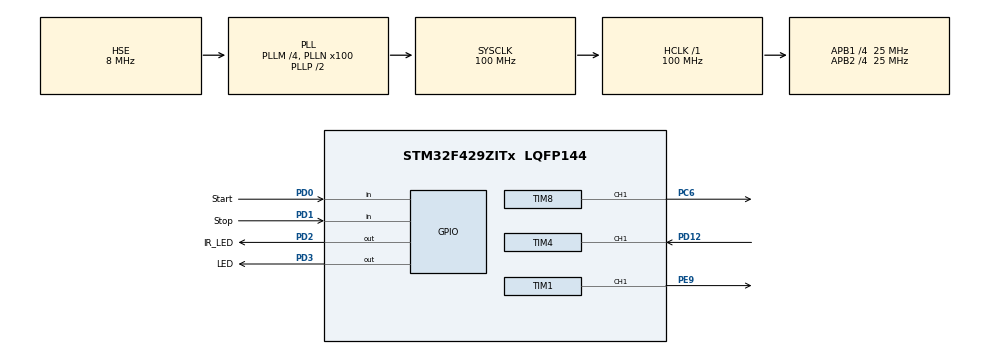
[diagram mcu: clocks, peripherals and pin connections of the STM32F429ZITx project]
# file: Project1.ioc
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Mcu.Family=STM32F4
Mcu.Name=STM32F429ZITx
Mcu.Package=LQFP144
NVIC.PriorityGroup=NVIC_PRIORITYGROUP_4
NVIC.TIM1_CC_IRQn=true\:0\:0\:false\:false\:true\:true\:true\:true
NVIC.TIM2_IRQn=true\:0\:0\:false\:false\:true\:true\:true\:true
NVIC.TIM4_IRQn=true\:0\:0\:false\:false\:true\:true\:true\:true
PC6.Signal=S_TIM8_CH1
PD0.GPIO_Label=Start
PD0.Signal=GPIO_Input
PD1.GPIO_Label=Stop
PD1.Signal=GPIO_Input
PD12.Signal=S_TIM4_CH1
PD2.GPIO_Label=IR_LED
PD2.Signal=GPIO_Output
PD3.GPIO_Label=LED
PD3.Signal=GPIO_Output
PE9.Signal=S_TIM1_CH1
PH0/OSC_IN.Mode=HSE-External-Oscillator
PH0/OSC_IN.Signal=RCC_OSC_IN
PH1/OSC_OUT.Mode=HSE-External-Oscillator
PH1/OSC_OUT.Signal=RCC_OSC_OUT
ProjectManager.HeapSize=0x200
ProjectManager.StackSize=0x400
ProjectManager.TargetToolchain=EWARM V8.50
RCC.48MHZClocksFreq_Value=50000000
RCC.AHBFreq_Value=100000000
RCC.APB1CLKDivider=RCC_HCLK_DIV4
RCC.APB1Freq_Value=25000000
RCC.APB1TimFreq_Value=50000000
RCC.APB2CLKDivider=RCC_HCLK_DIV4
RCC.APB2Freq_Value=25000000
RCC.APB2TimFreq_Value=50000000
RCC.CortexFreq_Value=100000000
RCC.HCLKFreq_Value=100000000
RCC.HSE_VALUE=8000000
RCC.HSI_VALUE=16000000
RCC.LSE_VALUE=32768
RCC.PLLM=4
RCC.PLLN=100
RCC.PLLSourceVirtual=RCC_PLLSOURCE_HSE
RCC.SYSCLKFreq_VALUE=100000000
RCC.SYSCLKSource=RCC_SYSCLKSOURCE_PLLCLK
RCC.VCOOutputFreq_Value=200000000
SH.S_TIM1_CH1.0=TIM1_CH1,PWM Generation1 CH1
SH.S_TIM4_CH1.0=TIM4_CH1,Input_Capture1_from_TI1
SH.S_TIM8_CH1.0=TIM8_CH1,PWM Generation1 CH1
TIM1.Channel-PWM\ Generation1\ CH1=TIM_CHANNEL_1
TIM1.Period=200
TIM1.Prescaler=50
TIM2.Channel-Output\ Compare1\ No\ Output=TIM_CHANNEL_1
TIM2.Period=500000
TIM2.Prescaler=50
TIM4.Channel-Input_Capture1_from_TI1=TIM_CHANNEL_1
TIM4.ICPolarity_CH1=TIM_INPUTCHANNELPOLARITY_BOTHEDGE
TIM8.Channel-PWM\ Generation1\ CH1=TIM_CHANNEL_1
VP_TIM2_VS_no_output1.Mode=Output Compare1 No Output
board=custom

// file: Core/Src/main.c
/* USER CODE BEGIN Header */
/**
  ******************************************************************************
  * @file           : main.c
  * @brief          : Main program body
  ******************************************************************************
  * @attention
  *
  * Copyright (c) 2023 STMicroelectronics.
  * All rights reserved.
  *
  * This software is licensed under terms that can be found in the LICENSE file
  * in the root directory of this software component.
  * If no LICENSE file comes with this software, it is provided AS-IS.
  *
  ******************************************************************************
  */
/* USER CODE END Header */
#include "main.h"

TIM_HandleTypeDef htim1;
TIM_HandleTypeDef htim2;
TIM_HandleTypeDef htim4;
TIM_HandleTypeDef htim8;

/* USER CODE BEGIN PV */
int state = 0;
uint8_t START = 1;
uint8_t STOP = 1;
int blinks = 0;
float freq = 0;
/* USER CODE END PV */

void SystemClock_Config(void);
static void MX_GPIO_Init(void);
static void MX_TIM4_Init(void);
static void MX_TIM1_Init(void);
static void MX_TIM2_Init(void);
static void MX_TIM8_Init(void);

int main(void)
{

  /* MCU Configuration--------------------------------------------------------*/

  /* Reset of all peripherals, Initializes the Flash interface and the Systick. */
  HAL_Init();

  /* Configure the system clock */
  SystemClock_Config();

  /* Initialize all configured peripherals */
  MX_GPIO_Init();
  MX_TIM4_Init();
  MX_TIM1_Init();
  MX_TIM2_Init();
  MX_TIM8_Init();
  /* USER CODE BEGIN 2 */
  //TIM1 -> PSC = 49 - 1; // set the prescalar for the PWM generation
  TIM1 -> ARR = 100; // 1MHz / 5kHz = 100 ticks/5kHz wave
  TIM1 -> CCR1 = 50; // 200/2 = 100 = 50% duty cycle
  HAL_TIM_PWM_Init(&htim1);

  TIM8 -> ARR = 1667; // 100MHz/30kHz = 1667 ticks/30kHz wave
  TIM8 -> CCR1 = 1667; // 1667 * .5 = 1667 for 50% duty cycle
  HAL_TIM_PWM_Init(&htim8);
  /* USER CODE END 2 */

  /* Infinite loop */
  /* USER CODE BEGIN WHILE */
  while (1)
  { START = HAL_GPIO_ReadPin(GPIOD, GPIO_PIN_0); // start = PD0
    STOP = HAL_GPIO_ReadPin(GPIOD, GPIO_PIN_1); // start = PD1
    HAL_TIM_PWM_Stop(&htim1, TIM_CHANNEL_1); // turn off the buzzer

    if (START == GPIO_PIN_SET && state == 0) {
      blinks = 0; // reset the blink count for reset
    }

    // the start sequence
    else if (((START == GPIO_PIN_RESET) && (state == 0)) && (blinks < 7)){
      TIM2 -> ARR = 500000; // the timer will trigger every half second
      TIM1 -> PSC = 50-1;
      TIM1 -> ARR = 100; // 1MHz / 5kHz = 100 ticks/5kHz wave
      TIM1 -> CCR1 = 50; // 100/2 = 50 = 50% duty cycle
      HAL_TIM_OC_Start_IT(&htim2, TIM_CHANNEL_1); // start the blinking
      HAL_TIM_PWM_Start(&htim1, TIM_CHANNEL_1); // start the buzzer
      if (blinks == 6){
        HAL_TIM_OC_Stop_IT(&htim2, TIM_CHANNEL_1); // stop the blink interrupt
        TIM8 -> ARR = 1667;
        TIM8 -> CCR1 = 834;
        HAL_TIM_PWM_Start(&htim8, TIM_CHANNEL_1); // turn on the output
        HAL_TIM_IC_Start_IT(&htim4, TIM_CHANNEL_1); // turn on the input compare
        state++; // goto next state after 6 blinks
      }
    }

    // the PWM generation
    else if (state == 1 && STOP == 1){
      blinks = 0; // reset the blink counter
      HAL_TIM_PWM_Stop(&htim1, TIM_CHANNEL_1); // turn off the buzzer
      HAL_GPIO_WritePin(GPIOD, GPIO_PIN_2, GPIO_PIN_SET); // turn on the IR LED
      if (freq > 6300){
          TIM8 -> CCR1 = 167; // 1667/10 = 167 for 10% duty cycle
      }
      else if (freq > 6100){
          TIM8 -> CCR1 = 334; // 1667/5 = 334 for 20% duty cycle
      }
      else if (freq > 5900){
          TIM8 -> CCR1 = 500; // 1667 * .3 = 500 for 30% duty cycle
      }
      else if (freq > 5700){
          TIM8 -> CCR1 = 667; // 1667 * .4 = 667 for 40% duty cycle
      }
      else if (freq > 5500){
          TIM8 -> CCR1 = 834; // 1667 * .5 = 834 for 50% duty cycle
      }
      else if (freq > 5300){
          TIM8 -> CCR1 = 1000; // 1667 * .6 = 1000 for 60% duty cycle
      }
      else if (freq > 5100){
          TIM8 -> CCR1 = 1167; // 1667 * .7 = 1167 for 70% duty cycle
      }
      else if (freq > 4900){
          TIM8 -> CCR1 = 1334; // 1667 * .8 = 1334 for 80% duty cycle
      }
      else if (freq > 4700){
          TIM8 -> CCR1 = 1500; // 1667 * .9 = 1500 for 90% duty cycle
      }
      else {
          TIM8 -> CCR1 = 834; // 1667 * .5 = 834 for 50% duty cycle
          // shouldn't get here, just in case
      }
    }

    // the stop sequence
    else if (STOP == 0 && state == 1) {
      HAL_TIM_OC_Stop_IT(&htim4, TIM_CHANNEL_1); // stop the input capture
      HAL_TIM_PWM_Stop(&htim8, TIM_CHANNEL_1); // stop the output
      HAL_GPIO_WritePin(GPIOD, GPIO_PIN_2, GPIO_PIN_RESET); // turn off the IR LED
      TIM1 -> ARR = 90;
      TIM1 -> CCR1 = 45;
      HAL_TIM_PWM_Start(&htim1, TIM_CHANNEL_1); // turn on the buzzer
      TIM2 -> ARR = 250000; // the timer will trigger every quarter second
      HAL_TIM_OC_Start_IT(&htim2, TIM_CHANNEL_1); // start blinking the light

      if (blinks == 10){
        HAL_TIM_OC_Stop_IT(&htim2, TIM_CHANNEL_1); // stop the blinking at 10 blinks
        state = 0; // restart the process
      }
    }

    /* USER CODE END WHILE */

  }
}

void SystemClock_Config(void)
{
  RCC_OscInitTypeDef RCC_OscInitStruct = {0};
  RCC_ClkInitTypeDef RCC_ClkInitStruct = {0};

  /** Configure the main internal regulator output voltage
  */
  __HAL_RCC_PWR_CLK_ENABLE();
  __HAL_PWR_VOLTAGESCALING_CONFIG(PWR_REGULATOR_VOLTAGE_SCALE3);

  /** Initializes the RCC Oscillators according to the specified parameters
  * in the RCC_OscInitTypeDef structure.
  */
  RCC_OscInitStruct.OscillatorType = RCC_OSCILLATORTYPE_HSE;
  RCC_OscInitStruct.HSEState = RCC_HSE_ON;
  RCC_OscInitStruct.PLL.PLLState = RCC_PLL_ON;
  RCC_OscInitStruct.PLL.PLLSource = RCC_PLLSOURCE_HSE;
  RCC_OscInitStruct.PLL.PLLM = 4;
  RCC_OscInitStruct.PLL.PLLN = 100;
  RCC_OscInitStruct.PLL.PLLP = RCC_PLLP_DIV2;
  RCC_OscInitStruct.PLL.PLLQ = 4;
  if (HAL_RCC_OscConfig(&RCC_OscInitStruct) != HAL_OK)
  {
    Error_Handler();
  }

  /** Initializes the CPU, AHB and APB buses clocks
  */
  RCC_ClkInitStruct.ClockType = RCC_CLOCKTYPE_HCLK|RCC_CLOCKTYPE_SYSCLK
                              |RCC_CLOCKTYPE_PCLK1|RCC_CLOCKTYPE_PCLK2;
  RCC_ClkInitStruct.SYSCLKSource = RCC_SYSCLKSOURCE_PLLCLK;
  RCC_ClkInitStruct.AHBCLKDivider = RCC_SYSCLK_DIV1;
  RCC_ClkInitStruct.APB1CLKDivider = RCC_HCLK_DIV4;
  RCC_ClkInitStruct.APB2CLKDivider = RCC_HCLK_DIV4;

  if (HAL_RCC_ClockConfig(&RCC_ClkInitStruct, FLASH_LATENCY_3) != HAL_OK)
  {
    Error_Handler();
  }
}

static void MX_TIM1_Init(void)
{

  TIM_MasterConfigTypeDef sMasterConfig = {0};
  TIM_OC_InitTypeDef sConfigOC = {0};
  TIM_BreakDeadTimeConfigTypeDef sBreakDeadTimeConfig = {0};

  htim1.Instance = TIM1;
  htim1.Init.Prescaler = 50;
  htim1.Init.CounterMode = TIM_COUNTERMODE_UP;
  htim1.Init.Period = 200;
  htim1.Init.ClockDivision = TIM_CLOCKDIVISION_DIV1;
  htim1.Init.RepetitionCounter = 0;
  htim1.Init.AutoReloadPreload = TIM_AUTORELOAD_PRELOAD_DISABLE;
  if (HAL_TIM_PWM_Init(&htim1) != HAL_OK)
  {
    Error_Handler();
  }
  sMasterConfig.MasterOutputTrigger = TIM_TRGO_RESET;
  sMasterConfig.MasterSlaveMode = TIM_MASTERSLAVEMODE_DISABLE;
  if (HAL_TIMEx_MasterConfigSynchronization(&htim1, &sMasterConfig) != HAL_OK)
  {
    Error_Handler();
  }
  sConfigOC.OCMode = TIM_OCMODE_PWM1;
  sConfigOC.Pulse = 0;
  sConfigOC.OCPolarity = TIM_OCPOLARITY_HIGH;
  sConfigOC.OCNPolarity = TIM_OCNPOLARITY_HIGH;
  sConfigOC.OCFastMode = TIM_OCFAST_DISABLE;
  sConfigOC.OCIdleState = TIM_OCIDLESTATE_RESET;
  sConfigOC.OCNIdleState = TIM_OCNIDLESTATE_RESET;
  if (HAL_TIM_PWM_ConfigChannel(&htim1, &sConfigOC, TIM_CHANNEL_1) != HAL_OK)
  {
    Error_Handler();
  }
  sBreakDeadTimeConfig.OffStateRunMode = TIM_OSSR_DISABLE;
  sBreakDeadTimeConfig.OffStateIDLEMode = TIM_OSSI_DISABLE;
  sBreakDeadTimeConfig.LockLevel = TIM_LOCKLEVEL_OFF;
  sBreakDeadTimeConfig.DeadTime = 0;
  sBreakDeadTimeConfig.BreakState = TIM_BREAK_DISABLE;
  sBreakDeadTimeConfig.BreakPolarity = TIM_BREAKPOLARITY_HIGH;
  sBreakDeadTimeConfig.AutomaticOutput = TIM_AUTOMATICOUTPUT_DISABLE;
  if (HAL_TIMEx_ConfigBreakDeadTime(&htim1, &sBreakDeadTimeConfig) != HAL_OK)
  {
    Error_Handler();
  }
  HAL_TIM_MspPostInit(&htim1);

}

static void MX_TIM2_Init(void)
{

  TIM_MasterConfigTypeDef sMasterConfig = {0};
  TIM_OC_InitTypeDef sConfigOC = {0};

  htim2.Instance = TIM2;
  htim2.Init.Prescaler = 50;
  htim2.Init.CounterMode = TIM_COUNTERMODE_UP;
  htim2.Init.Period = 500000;
  htim2.Init.ClockDivision = TIM_CLOCKDIVISION_DIV1;
  htim2.Init.AutoReloadPreload = TIM_AUTORELOAD_PRELOAD_DISABLE;
  if (HAL_TIM_OC_Init(&htim2) != HAL_OK)
  {
    Error_Handler();
  }
  sMasterConfig.MasterOutputTrigger = TIM_TRGO_RESET;
  sMasterConfig.MasterSlaveMode = TIM_MASTERSLAVEMODE_DISABLE;
  if (HAL_TIMEx_MasterConfigSynchronization(&htim2, &sMasterConfig) != HAL_OK)
  {
    Error_Handler();
  }
  sConfigOC.OCMode = TIM_OCMODE_TIMING;
  sConfigOC.Pulse = 0;
  sConfigOC.OCPolarity = TIM_OCPOLARITY_HIGH;
  sConfigOC.OCFastMode = TIM_OCFAST_DISABLE;
  if (HAL_TIM_OC_ConfigChannel(&htim2, &sConfigOC, TIM_CHANNEL_1) != HAL_OK)
  {
    Error_Handler();
  }

}

static void MX_TIM4_Init(void)
{

  TIM_MasterConfigTypeDef sMasterConfig = {0};
  TIM_IC_InitTypeDef sConfigIC = {0};

  htim4.Instance = TIM4;
  htim4.Init.Prescaler = 0;
  htim4.Init.CounterMode = TIM_COUNTERMODE_UP;
  htim4.Init.Period = 65535;
  htim4.Init.ClockDivision = TIM_CLOCKDIVISION_DIV1;
  htim4.Init.AutoReloadPreload = TIM_AUTORELOAD_PRELOAD_DISABLE;
  if (HAL_TIM_IC_Init(&htim4) != HAL_OK)
  {
    Error_Handler();
  }
  sMasterConfig.MasterOutputTrigger = TIM_TRGO_RESET;
  sMasterConfig.MasterSlaveMode = TIM_MASTERSLAVEMODE_DISABLE;
  if (HAL_TIMEx_MasterConfigSynchronization(&htim4, &sMasterConfig) != HAL_OK)
  {
    Error_Handler();
  }
  sConfigIC.ICPolarity = TIM_INPUTCHANNELPOLARITY_BOTHEDGE;
  sConfigIC.ICSelection = TIM_ICSELECTION_DIRECTTI;
  sConfigIC.ICPrescaler = TIM_ICPSC_DIV1;
  sConfigIC.ICFilter = 0;
  if (HAL_TIM_IC_ConfigChannel(&htim4, &sConfigIC, TIM_CHANNEL_1) != HAL_OK)
  {
    Error_Handler();
  }

}

static void MX_TIM8_Init(void)
{

  TIM_MasterConfigTypeDef sMasterConfig = {0};
  TIM_OC_InitTypeDef sConfigOC = {0};
  TIM_BreakDeadTimeConfigTypeDef sBreakDeadTimeConfig = {0};

  htim8.Instance = TIM8;
  htim8.Init.Prescaler = 0;
  htim8.Init.CounterMode = TIM_COUNTERMODE_UP;
  htim8.Init.Period = 65535;
  htim8.Init.ClockDivision = TIM_CLOCKDIVISION_DIV1;
  htim8.Init.RepetitionCounter = 0;
  htim8.Init.AutoReloadPreload = TIM_AUTORELOAD_PRELOAD_DISABLE;
  if (HAL_TIM_PWM_Init(&htim8) != HAL_OK)
  {
    Error_Handler();
  }
  sMasterConfig.MasterOutputTrigger = TIM_TRGO_RESET;
  sMasterConfig.MasterSlaveMode = TIM_MASTERSLAVEMODE_DISABLE;
  if (HAL_TIMEx_MasterConfigSynchronization(&htim8, &sMasterConfig) != HAL_OK)
  {
    Error_Handler();
  }
  sConfigOC.OCMode = TIM_OCMODE_PWM1;
  sConfigOC.Pulse = 0;
  sConfigOC.OCPolarity = TIM_OCPOLARITY_HIGH;
  sConfigOC.OCNPolarity = TIM_OCNPOLARITY_HIGH;
  sConfigOC.OCFastMode = TIM_OCFAST_DISABLE;
  sConfigOC.OCIdleState = TIM_OCIDLESTATE_RESET;
  sConfigOC.OCNIdleState = TIM_OCNIDLESTATE_RESET;
  if (HAL_TIM_PWM_ConfigChannel(&htim8, &sConfigOC, TIM_CHANNEL_1) != HAL_OK)
  {
    Error_Handler();
  }
  sBreakDeadTimeConfig.OffStateRunMode = TIM_OSSR_DISABLE;
  sBreakDeadTimeConfig.OffStateIDLEMode = TIM_OSSI_DISABLE;
  sBreakDeadTimeConfig.LockLevel = TIM_LOCKLEVEL_OFF;
  sBreakDeadTimeConfig.DeadTime = 0;
  sBreakDeadTimeConfig.BreakState = TIM_BREAK_DISABLE;
  sBreakDeadTimeConfig.BreakPolarity = TIM_BREAKPOLARITY_HIGH;
  sBreakDeadTimeConfig.AutomaticOutput = TIM_AUTOMATICOUTPUT_DISABLE;
  if (HAL_TIMEx_ConfigBreakDeadTime(&htim8, &sBreakDeadTimeConfig) != HAL_OK)
  {
    Error_Handler();
  }
  HAL_TIM_MspPostInit(&htim8);

}

static void MX_GPIO_Init(void)
{
  GPIO_InitTypeDef GPIO_InitStruct = {0};

  /* GPIO Ports Clock Enable */
  __HAL_RCC_GPIOH_CLK_ENABLE();
  __HAL_RCC_GPIOE_CLK_ENABLE();
  __HAL_RCC_GPIOD_CLK_ENABLE();
  __HAL_RCC_GPIOC_CLK_ENABLE();

  /*Configure GPIO pin Output Level */
  HAL_GPIO_WritePin(GPIOD, IR_LED_Pin|LED_Pin, GPIO_PIN_RESET);

  /*Configure GPIO pins : Start_Pin Stop_Pin */
  GPIO_InitStruct.Pin = Start_Pin|Stop_Pin;
  GPIO_InitStruct.Mode = GPIO_MODE_INPUT;
  GPIO_InitStruct.Pull = GPIO_NOPULL;
  HAL_GPIO_Init(GPIOD, &GPIO_InitStruct);

  /*Configure GPIO pins : IR_LED_Pin LED_Pin */
  GPIO_InitStruct.Pin = IR_LED_Pin|LED_Pin;
  GPIO_InitStruct.Mode = GPIO_MODE_OUTPUT_PP;
  GPIO_InitStruct.Pull = GPIO_NOPULL;
  GPIO_InitStruct.Speed = GPIO_SPEED_FREQ_LOW;
  HAL_GPIO_Init(GPIOD, &GPIO_InitStruct);

}

void Error_Handler(void)
{
  __disable_irq();
  while (1)
  {
  }
}
